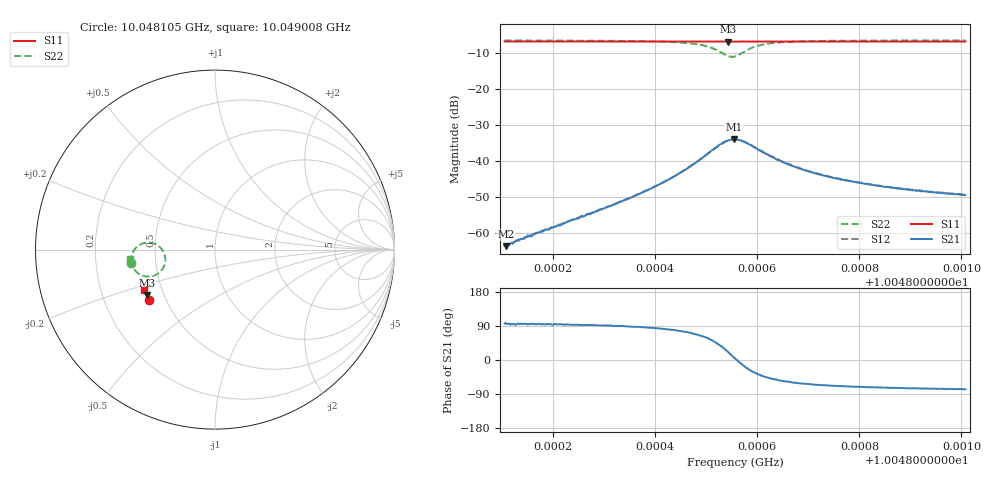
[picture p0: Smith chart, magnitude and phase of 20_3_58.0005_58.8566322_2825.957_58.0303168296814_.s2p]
#  HZ  S  RI  R  50.00
! Rohde & Schwarz Vector Network Analyzer
! Rohde-Schwarz,ZNB20-2Port,1311601062101988,3.16
! Created: UTC 3/21/2024, 12:51:09 AM
! freq[Hz]  re:S11  im:S11  re:S21  im:S21  re:S12  im:S12  re:S22  im:S22
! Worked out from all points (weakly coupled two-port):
!   401 points, 10.048105 GHz to 10.049008 GHz, reference 50 ohm
!   highest |S21| = -33.87 dB at 10.048554 GHz (marker M1); lowest = -63.6 dB at 10.048107 GHz (marker M2)
!   lowest |S11| = -6.8 dB at 10.048543 GHz (marker M3), VSWR 2.68, Z = 20.1 - j12.9 ohm
!   |S11| at or under -10 dB: nowhere
!   |S22| runs from -11.0 to -6.5 dB; largest |S21 - S12| = 0.0016
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1.00481047e10  -0.3654 -0.2785  -7.5e-05 0.000665  -0.000106 0.000671  -0.4676 -0.0733
1.0048107e10  -0.3657 -0.2786  -8.62e-05 0.000657  -0.000102 0.000673  -0.4677 -0.0729
1.0048116e10  -0.3659 -0.2779  -4.18e-05 0.000715  -9.29e-05 0.000715  -0.4676 -0.0719
1.00481499e10  -0.3672 -0.276  -5.55e-05 0.000892  -0.000141 0.000926  -0.4679 -0.0679
1.0048256e10  -0.3712 -0.2701  -6.93e-05 0.00171  -0.000182 0.00174  -0.4675 -0.0533
1.00483418e10  -0.3745 -0.2651  3.95e-05 0.00291  -8.67e-05 0.00296  -0.465 -0.036
1.00484073e10  -0.3769 -0.2615  0.000562 0.00472  0.000285 0.00474  -0.4578 -0.0154
1.00484569e10  -0.3786 -0.2582  0.00199 0.00724  0.00155 0.00732  -0.4405 0.00985
1.00484908e10  -0.3796 -0.2561  0.00494 0.00978  0.00435 0.0101  -0.4086 0.0318
1.00485202e10  -0.38 -0.2541  0.0112 0.0111  0.0104 0.0115  -0.3474 0.0363
1.00485427e10  -0.3799 -0.2531  0.0181 0.007  0.0175 0.00827  -0.288 -0.0107
1.0048554e10  -0.38 -0.2529  0.0201 0.00234  0.0196 0.00387  -0.2765 -0.0549
1.00485563e10  -0.3801 -0.253  0.02 0.00156  0.0197 0.00298  -0.2771 -0.0643
1.00485676e10  -0.3806 -0.2529  0.0192 -0.00294  0.0194 -0.00157  -0.2912 -0.1061
1.00485811e10  -0.3812 -0.2524  0.0163 -0.00693  0.0167 -0.00555  -0.3239 -0.1377
1.00486127e10  -0.383 -0.251  0.00953 -0.00904  0.0103 -0.0083  -0.3918 -0.1486
1.00486466e10  -0.3846 -0.2491  0.00579 -0.00816  0.00636 -0.00784  -0.4279 -0.1327
1.00486714e10  -0.3856 -0.2477  0.00423 -0.00736  0.00484 -0.00704  -0.4415 -0.1207
1.00487076e10  -0.3871 -0.2456  0.00303 -0.0063  0.00344 -0.00619  -0.4526 -0.1068
1.00487708e10  -0.3894 -0.2419  0.0019 -0.00513  0.00225 -0.00507  -0.4617 -0.0894
1.00488588e10  -0.3922 -0.2367  0.00123 -0.00416  0.00149 -0.00415  -0.4674 -0.0732
1.00490079e10  -0.3971 -0.2279  0.000758 -0.0033  0.000966 -0.00328  -0.4711 -0.0545
